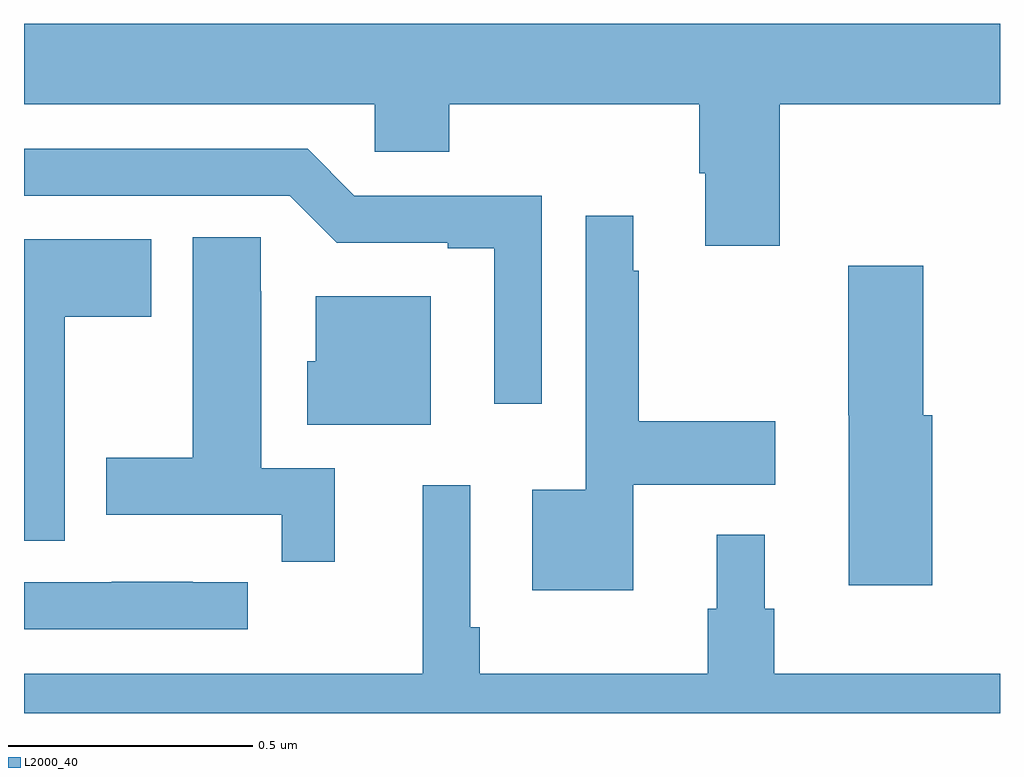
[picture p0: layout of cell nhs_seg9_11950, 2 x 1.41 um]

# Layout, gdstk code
import gdstk
lib = gdstk.Library(unit=1e-6, precision=1e-09)
def P(c, l, *ps):  # polygons
    for p in ps: c.add(gdstk.Polygon(p, *l))
L2000_40 = (2000, 40)

nhs_seg9_11950 = lib.new_cell('nhs_seg9_11950')
P(nhs_seg9_11950, L2000_40, [(263.549,1201.748),(264,1201.748),(264,1201.912),(262,1201.912),(262,1201.748),(262.719,1201.748),(262.719,1201.65),(262.871,1201.65),(262.871,1201.748),(263.384,1201.748),(263.384,1201.606),(263.396,1201.606),(263.396,1201.458),(263.549,1201.458)],
  [(263.061,1201.56),(262.677,1201.56),(262.581,1201.656),(262,1201.656),(262,1201.56),(262.545,1201.56),(262.641,1201.464),(262.868,1201.464),(262.868,1201.452),(262.964,1201.452),(262.964,1201.134),(263.061,1201.134)],
  [(263.248,1200.968),(263.539,1200.968),(263.539,1201.098),(263.26,1201.098),(263.26,1201.406),(263.248,1201.406),(263.248,1201.519),(263.151,1201.519),(263.151,1200.958),(263.042,1200.958),(263.042,1200.752),(263.248,1200.752)],
  [(262.637,1201.002),(262.486,1201.002),(262.486,1201.364),(262.485,1201.364),(262.485,1201.475),(262.346,1201.475),(262.346,1201.023),(262.169,1201.023),(262.169,1200.906),(262.528,1200.906),(262.528,1200.81),(262.637,1200.81)],
  [(262.084,1201.312),(262.261,1201.312),(262.261,1201.471),(262,1201.471),(262,1200.853),(262.084,1200.853)],
  [(263.861,1201.11),(263.843,1201.11),(263.843,1201.417),(263.689,1201.417),(263.689,1201.11),(263.69,1201.11),(263.69,1200.762),(263.861,1200.762)],
  [(262.834,1201.354),(262.598,1201.354),(262.598,1201.221),(262.58,1201.221),(262.58,1201.091),(262.834,1201.091)],
  [(264,1200.58),(263.537,1200.58),(263.537,1200.714),(263.518,1200.714),(263.518,1200.865),(263.42,1200.865),(263.42,1200.714),(263.401,1200.714),(263.401,1200.58),(262.934,1200.58),(262.934,1200.676),(262.914,1200.676),(262.914,1200.967),(262.817,1200.967),(262.817,1200.58),(262,1200.58),(262,1200.5),(264,1200.5)],
  [(262.459,1200.768),(262.346,1200.768),(262.346,1200.769),(262.18,1200.769),(262.18,1200.768),(262,1200.768),(262,1200.672),(262.459,1200.672)])

lib.write_gds('nhs_seg9_11950.gds')
